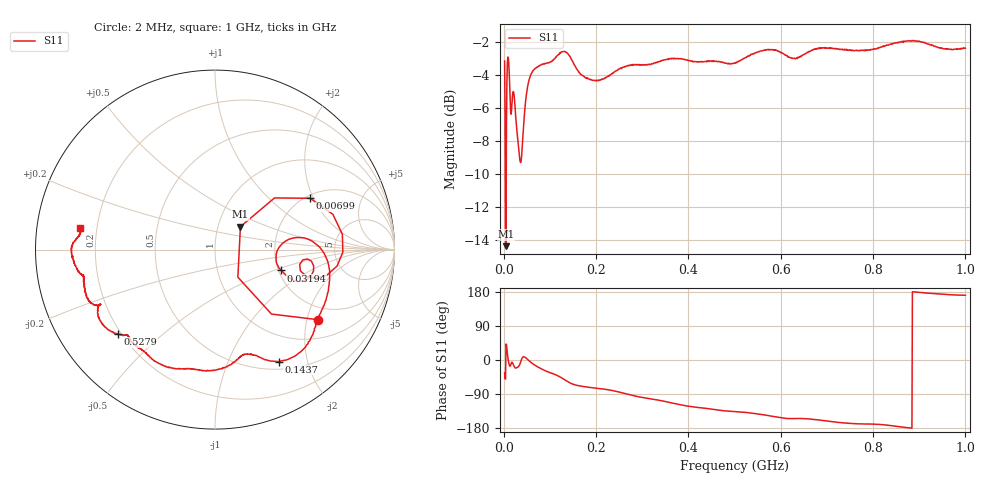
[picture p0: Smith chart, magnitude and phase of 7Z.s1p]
!Keysight Technologies N9923A: A.08.19
!Date: Thursday, 16 January 2020 11:30:00
!TimeZone: (GMT-03:00) Brasilia!Model: N9923A
!Serial: MY51491501
!GPS Latitude:
!GPS Longitude:
!GPS TimeStamp: 0001-01-01 00:00:00Z
!GPS Seconds Since Last Read: 0
!CHECKSUM:1078980270
!Correction: S11(ON U)
!S1P File: Measurement: S11:
# Hz S DB R 50
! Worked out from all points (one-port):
!   1001 points, 2 MHz to 1 GHz, reference 50 ohm
!   lowest |S11| = -14.4 dB at 4.994 MHz (marker M1), VSWR 1.47, Z = 64 + j17 ohm
!   |S11| at or under -10 dB: 3.47 MHz to 5.599 MHz (2.13 MHz wide, 47 % of centre)
!   S11 on the Smith chart (normalised r, x): 2 MHz: 1.55, -2.34; 6.99 MHz: 2.11, +1.89; 31.94 MHz: 2.06, -0.56; 143.7 MHz: 0.60, -1.55; 527.9 MHz: 0.19, -0.36; 1 GHz: 0.14, +0.08
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2000000  -3.16 -34.2
4994000  -14.40 42.0
6990000  -4.40 28.3
9984000  -2.95 -1.2
1.2978e7  -4.65 -16.0
1.5972e7  -6.39 -10.0
2.5952e7  -6.54 -21.4
3.194e7  -8.27 -17.5
3.7928e7  -9.19 -0.7
4.691e7  -5.76 6.7
5.5892e7  -4.23 -3.1
6.7868e7  -3.62 -14.1
1.2675e8  -2.60 -48.1
1.43716e8  -2.89 -60.4
1.67668e8  -3.98 -69.0
2.0659e8  -4.32 -75.3
2.515e8  -3.63 -85.2
3.44314e8  -3.11 -108.2
3.7625e8  -3.01 -116.6
5.01e8  -3.30 -135.8
5.27946e8  -2.89 -139.0
5.86828e8  -2.48 -149.6
6.2575e8  -3.00 -154.5
6.69662e8  -2.47 -156.8
7.505e8  -2.49 -167.2
8.17366e8  -2.31 -170.3
8.7525e8  -1.94 -178.6
1e9  -2.38 170.7
